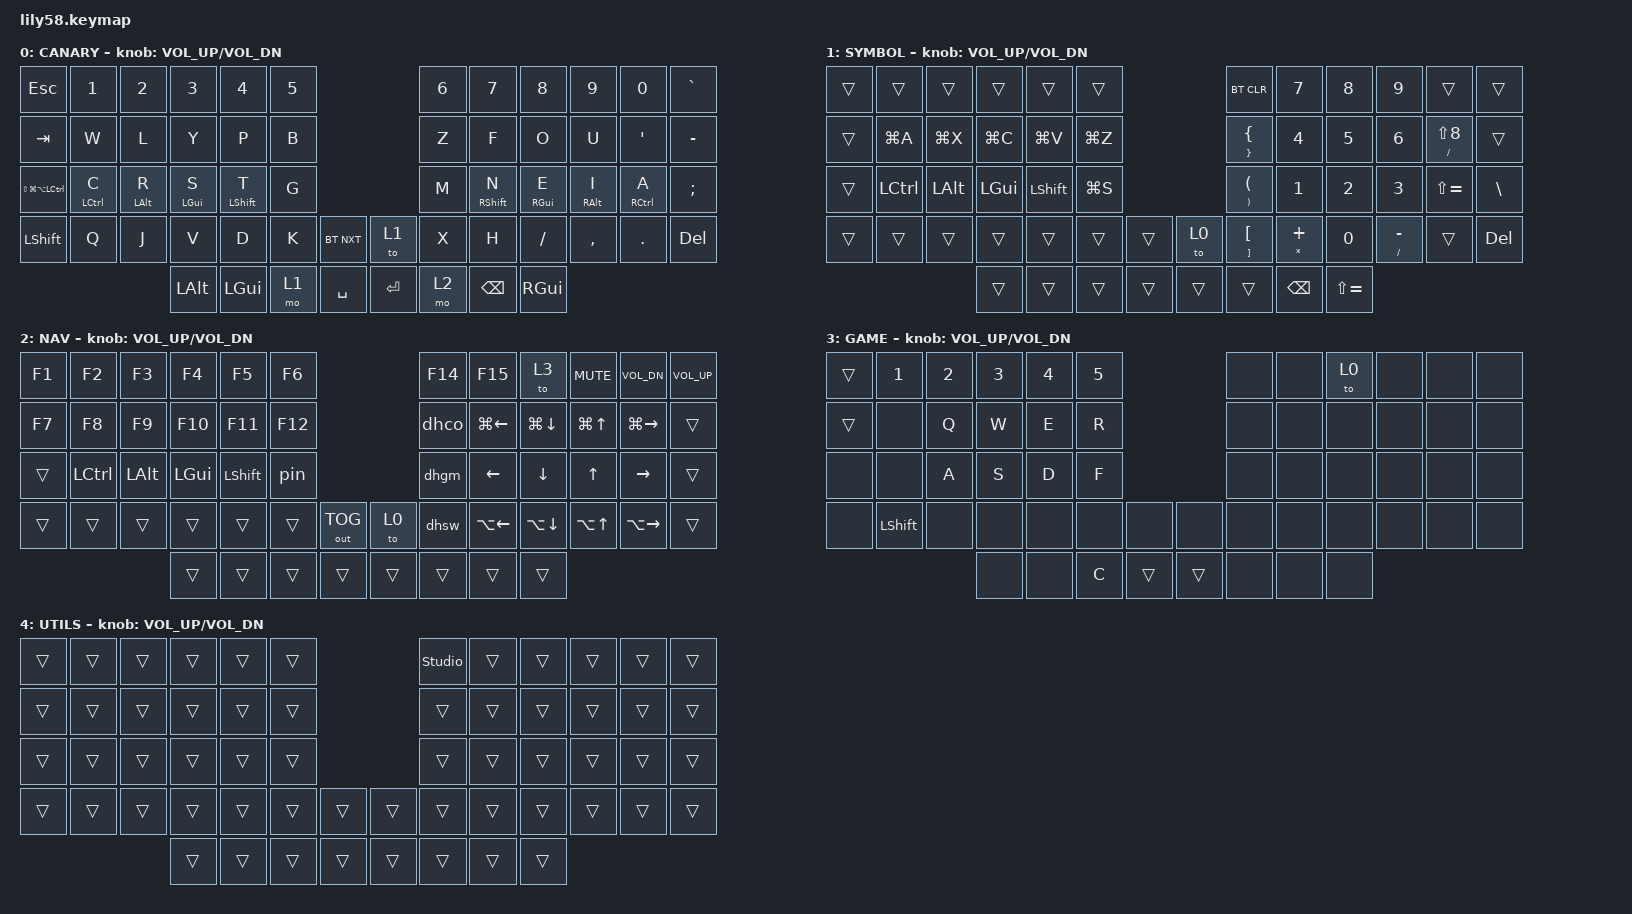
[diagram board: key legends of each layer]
/*
 * Copyright (c) 2020 The ZMK Contributors
 *
 * SPDX-License-Identifier: MIT
 */

#include <behaviors.dtsi>
#include <dt-bindings/zmk/bt.h>
#include <dt-bindings/zmk/ext_power.h>
#include <dt-bindings/zmk/keys.h>
#include <dt-bindings/zmk/outputs.h>


/ {
    behaviors {
        hrm: HomeRow {
            compatible = "zmk,behavior-hold-tap";
			#binding-cells = <2>;
            tapping-term-ms = <200>;
            quick-tap-ms = <0>;
            require-prior-idle-ms = <150>;
            flavor = "tap-preferred";
            bindings = <&kp>, <&kp>;
        };
        lhr: LHomeRow {
            compatible = "zmk,behavior-hold-tap";
            #binding-cells = <2>;
            flavor = "balanced";
            require-prior-idle-ms = <50>;
            tapping-term-ms = <280>;
            quick-tap-ms = <175>;
            bindings = <&kp>, <&kp>;
            hold-trigger-key-positions = < 6 7 8 9 10 11 18 19 20 21 22 23 30 31 32 33 34 35 44 45 46 47 48 49 53 54 56 57 >; // List of keys on the right side
            hold-trigger-on-release;
        };
        rhr: RHomeRow {
            compatible = "zmk,behavior-hold-tap";
            #binding-cells = <2>;
            flavor = "balanced";
            require-prior-idle-ms = <50>;
            tapping-term-ms = <280>;
            quick-tap-ms = <175>;
            bindings = <&kp>, <&kp>;
            hold-trigger-key-positions = < 1 2 3 4 5 12 13 14 15 16 17 24 25 26 27 28 29 36 37 38 39 40 41 50 53 54 56 57 >; // List of keys on the left side
            hold-trigger-on-release;
        };
    };

    macros {
        dhco: deskhop_config {
            compatible = "zmk,behavior-macro";
            #binding-cells = <0>;
            wait-ms = <30>;
            tap-ms = <40>;
            bindings =
                <&macro_press   &kp LCTRL>,
                <&macro_press   &kp RSHFT>,
                <&macro_press   &kp C>,
                <&macro_press   &kp O>,
                <&macro_release &kp O &kp C &kp RSHFT &kp LCTRL>
            ;
        };
        dhgm: deskhop_game_mode {
            compatible = "zmk,behavior-macro";
            #binding-cells = <0>;
            wait-ms = <30>;
            tap-ms = <40>;
            bindings =
                <&macro_press   &kp LCTRL>,
                <&macro_press   &kp RSHFT>,
                <&macro_tap     &kp G>,
                <&macro_release &kp RSHFT>,
                <&macro_release &kp LCTRL>
            ;
        };
        dhsw: deskhop_switch {
            compatible = "zmk,behavior-macro";
            #binding-cells = <0>;
            wait-ms = <30>;
            tap-ms = <40>;
            bindings =
                <&macro_press   &kp LCTRL>,
                <&macro_tap     &kp CAPSLOCK>,
                <&macro_release &kp LCTRL>
            ;
        };
        pin: enter_pin {
            compatible = "zmk,behavior-macro";
            #binding-cells = <0>;
            wait-ms = <30>;
            tap-ms = <40>;
            bindings =
                <&macro_tap     &kp N5>,
                <&macro_tap     &kp N8>,
                <&macro_tap     &kp N7>,
                <&macro_tap     &kp N5>,
                <&macro_tap     &kp N2>,
                <&macro_tap     &kp N1>
            ;
        };
    };

    keymap {
        compatible = "zmk,keymap";

        canary {
            // ------------------------------------------------------------------------------------------------------------
            // |  ESC   |  1  |  2  |  3   |  4   |  5   |                   |  6   |  7    |  8    |  9   |   0   |   `   |
            // |  TAB   |  W  |  L  |  Y   |  P   |  B   |                   |  Z   |  F    |  O    |  U   |   '   |   -   |
            // |  CTRL  |  C  |  R  |  S   |  T   |  G   |                   |  M   |  N    |  E    |  I   |   A   |   ;   |
            // |  SHIFT |  Q  |  J  |  V   |  D   |  K   |   "["  |  |  "]"  |  X   |  H    |  /    |  ,   |   .   | SHIFT |
            //                      | ALT  | GUI  | LOWER|  SPACE |  | ENTER | RAISE| BSPC  | GUI   |

            bindings = <
&kp ESC                 &kp N1           &kp N2         &kp N3          &kp N4          &kp N5                          &kp N6      &kp N7          &kp N8          &kp N9          &kp N0          &kp GRAVE
&kp TAB                 &kp W            &kp L          &kp Y           &kp P           &kp B                           &kp Z       &kp F           &kp O           &kp U           &kp SQT         &kp MINUS
&kp LS(LG(LA(LCTRL)))   &lhr LCTRL C     &lhr LALT R    &lhr LGUI S     &lhr LSHFT T    &kp G                           &kp M       &rhr RSHFT N    &rhr RGUI E     &rhr RALT I     &rhr RCTRL A    &kp SEMICOLON
&kp LSHFT               &kp Q            &kp J          &kp V           &kp D           &kp K   &bt BT_NXT     &to 1       &kp X           &kp H           &kp FSLH        &kp COMMA       &kp PERIOD      &kp DEL
                                                &kp LALT      &kp LGUI           &mo 1          &kp SPACE          &kp RET             &mo 2       &kp BSPC        &kp RGUI
            >;

            sensor-bindings = <&inc_dec_kp C_VOL_UP C_VOL_DN>;
            display-name = "CANARY";
        };

        symbol_layer {
            // ------------------------------------------------------------------------------------------------------------
            // | BTCLR | BT1 | BT2 |  BT3 |  BT4 |  BT5 |                   |ST_UNL|       |       |      |       |       |
            // |  F1   |  F2 |  F3 |  F4  |  F5  |  F6  |                   |  F7  |  F8   |  F9   |  F10 |  F11  |  F12  |
            // |   `   |  !  |  @  |  #   |  $   |  %   |                   |  ^   |   &   |   *   |  (   |   )   |   ~   |
            // |       |     |     |      |      |      | EP_TOG |  | EP_ON |  -   |   +   |  "|"  |  =   |   {   |   }   |
            //                     |      |      |      |        |  |       |      |       |       |

            bindings = <
&trans      &trans           &trans          &trans          &trans          &trans                                 &bt BT_CLR      &kp N7          &kp N8              &kp N9          &trans           &trans
&trans      &kp LG(A)        &kp LG(X)       &kp LG(C)       &kp LG(V)       &kp LG(Z)                              &mt RBRC LBRC   &kp N4          &kp N5              &kp N6          &mt SLASH LS(N8) &trans
&trans      &kp LEFT_CONTROL &kp LEFT_ALT    &kp LEFT_GUI    &kp LEFT_SHIFT  &kp LG(S)                              &mt RPAR LPAR   &kp N1          &kp N2              &kp N3          &kp LS(EQUAL)    &kp BSLH
&trans      &trans           &trans          &trans          &trans          &trans          &trans       &to 0     &mt RBKT LBKT   &mt STAR PLUS   &kp N0              &mt SLASH MINUS &trans           &kp DEL
                                             &trans          &trans          &trans          &trans       &trans    &trans          &kp BSPC        &kp LS(EQUAL)
            >;

            sensor-bindings = <&inc_dec_kp C_VOL_UP C_VOL_DN>;
            display-name = "SYMBOL";
        };

        nav_layer {
            // ------------------------------------------------------------------------------------------------------------
            // |        |        |        |        |        |        |                    |   F14  |   F15  |  GAME  |  MUTE  | VOL_UP | VOL_DN |
            // |        |        |        |        |        |        |                    |        |        |        |        |        |        |
            // |        |  CTRL  |  SHIFT |   ALT  |   GUI  |        |                    |        |   <-   |    v   |    ^   |   ->   |        |
            // |        |        |        |        |        |        |        |  |        |        |        |        |        |        |        |
            //                            |        |        |        |        |  |        |        |        |        |

            bindings = <
&kp F1  &kp F2              &kp F3          &kp F4          &kp F5          &kp F6                          &kp F14     &kp F15         &to 3           &kp K_MUTE  &kp K_VOL_DN    &kp K_VOL_UP
&kp F7  &kp F8              &kp F9          &kp F10         &kp F11         &kp F12                         &dhco       &kp LG(LEFT)    &kp LG(DOWN)    &kp LG(UP)  &kp LG(RIGHT)   &trans
&trans  &kp LEFT_CONTROL    &kp LEFT_ALT    &kp LEFT_GUI    &kp LEFT_SHIFT  &pin                            &dhgm       &kp LEFT        &kp DOWN        &kp UP      &kp RIGHT       &trans
&trans  &trans              &trans          &trans          &trans          &trans      &out OUT_TOG    &to 0     &dhsw       &kp LA(LEFT)    &kp LA(DOWN)    &kp LA(UP)  &kp LA(RIGHT)   &trans
                                            &trans          &trans          &trans      &trans    &trans    &trans      &trans          &trans
            >;

            sensor-bindings = <&inc_dec_kp C_VOL_UP C_VOL_DN>;
            display-name = "NAV";
        };

        game_layer {
            // ------------------------------------------------------------------------------------------------------------
            // |        |   1    |   2    |   3    |   4    |   5    |                    |        |        | CANARY |        |        |        |
            // |        |        |   Q    |   W    |   E    |   R    |                    |        |        |        |        |        |        |
            // |        | LSHFT  |   A    |   S    |   D    |   F    |                    |        |        |        |        |        |        |
            // |        | LSHFT  |        |        |        |        |        |  |        |        |        |        |        |        |        |
            //                            |        |        |   C    | SPACE  |  |  ENTER |        |        |        |

            bindings = <
&trans  &kp N1      &kp N2  &kp N3  &kp N4  &kp N5                      &none   &none   &to 0   &none   &none   &none
&trans  &none       &kp Q   &kp W   &kp E   &kp R                       &none   &none   &none   &none   &none   &none
&none   &none       &kp A   &kp S   &kp D   &kp F                       &none   &none   &none   &none   &none   &none
&none   &kp LSHIFT  &none   &none   &none   &none   &none    &none      &none   &none   &none   &none   &none   &none
                            &none   &none   &kp C   &trans   &trans     &none   &none   &none

            >;

            sensor-bindings = <&inc_dec_kp C_VOL_UP C_VOL_DN>;
            display-name = "GAME";
        };

        utilies_layer {
            // ------------------------------------------------------------------------------------------------------------
            // |        |        |        |        |        |        |                    | ST_UNL |        |        |        |        |        |
            // |        |        |        |        |        |        |                    |        |        |        |        |        |        |
            // |        |        |        |        |        |        |                    |        |        |        |        |        |        |
            // |        |        |        |        |        |        |                    |        |        |        |        |        |        |
            //                            |        |        |        |        |  |        |        |        |        |

            bindings = <
        
&trans  &trans  &trans  &trans  &trans  &trans                  &studio_unlock  &trans  &trans  &trans  &trans  &trans
&trans  &trans  &trans  &trans  &trans  &trans                  &trans          &trans  &trans  &trans  &trans  &trans
&trans  &trans  &trans  &trans  &trans  &trans                  &trans          &trans  &trans  &trans  &trans  &trans
&trans  &trans  &trans  &trans  &trans  &trans  &trans  &trans  &trans          &trans  &trans  &trans  &trans  &trans
                      &trans  &trans  &trans    &trans  &trans    &trans  &trans  &trans
        
            >;

            sensor-bindings = <&inc_dec_kp C_VOL_UP C_VOL_DN>;
            display-name = "UTILS";
        };

        extra_2 { status = "reserved"; };
    };
};
